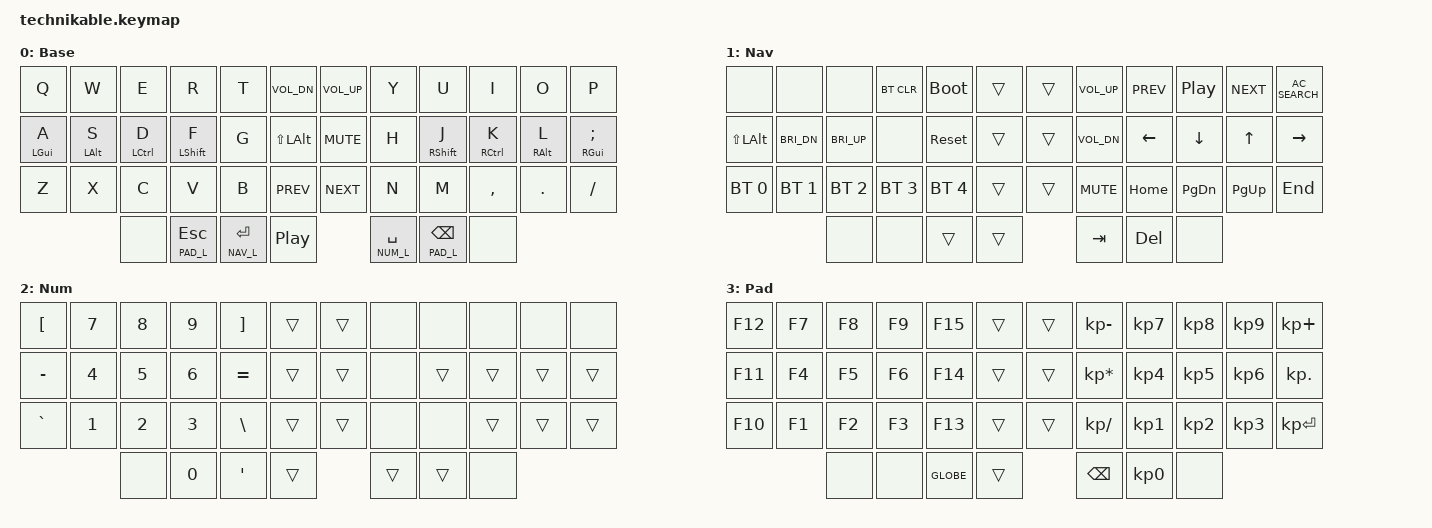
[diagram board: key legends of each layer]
/*
 * Copyright (c) 2022 Pete Johanson
 *
 * SPDX-License-Identifier: MIT
 */

#include <behaviors.dtsi>
#include <dt-bindings/zmk/keys.h>
#include <dt-bindings/zmk/bt.h>
#include <dt-bindings/zmk/outputs.h>

#define BAS_L 0
#define NAV_L 1
#define NUM_L 2
#define PAD_L 3

// Using layer taps on thumbs, having quick tap as well helps w/ repeating space/backspace
&lt { quick_tap_ms = <200>; };

/ {
    chosen {
        zmk,matrix_transform = &mit_transform;
    };

    behaviors {
        hm: homerow_mods {
            compatible = "zmk,behavior-hold-tap";
            #binding-cells = <2>;
            tapping_term_ms = <200>;
            flavor = "tap-preferred";
            bindings = <&kp>, <&kp>;
        };
    };

    keymap {
        compatible = "zmk,keymap";

        base_layer {
            display-name = "Base";
            bindings = <
&kp Q         &kp W         &kp E          &kp R            &kp T            &kp C_VOL_DN    &kp C_VOL_UP    &kp Y              &kp U             &kp I          &kp O         &kp P
&hm LGUI A    &hm LALT S    &hm LCTRL D    &hm LSHFT F      &kp G            &kp LS(LALT)    &kp C_MUTE      &kp H              &hm RSHFT J       &hm RCTRL K    &hm RALT L    &hm RGUI SEMI
&kp Z         &kp X         &kp C          &kp V            &kp B            &kp C_PREV      &kp C_NEXT      &kp N              &kp M             &kp COMMA      &kp DOT       &kp FSLH
                            &none          &lt PAD_L ESC    &lt NAV_L RET    &kp C_PP                        &lt NUM_L SPACE    &lt PAD_L BSPC    &none
            >;
        };

        nav_layer {
            display-name = "Nav";
            bindings = <
&none           &none           &none           &bt BT_CLR      &bootloader     &trans    &trans    &kp C_VOL_UP    &kp C_PREV    &kp C_PP     &kp C_NEXT    &kp C_AC_SEARCH
&kp LS(LALT)    &kp C_BRI_DN    &kp C_BRI_UP    &none           &sys_reset      &trans    &trans    &kp C_VOL_DN    &kp LEFT      &kp DOWN     &kp UP        &kp RIGHT
&bt BT_SEL 0    &bt BT_SEL 1    &bt BT_SEL 2    &bt BT_SEL 3    &bt BT_SEL 4    &trans    &trans    &kp C_MUTE      &kp HOME      &kp PG_DN    &kp PG_UP     &kp END
                                &none           &none           &trans          &trans              &kp TAB         &kp DEL       &none
            >;
        };

        num_layer {
            display-name = "Num";
            bindings = <
&kp LBKT     &kp N7    &kp N8    &kp N9    &kp RBKT     &trans    &trans    &none     &none     &none     &none     &none
&kp MINUS    &kp N4    &kp N5    &kp N6    &kp EQUAL    &trans    &trans    &none     &trans    &trans    &trans    &trans
&kp GRAVE    &kp N1    &kp N2    &kp N3    &kp BSLH     &trans    &trans    &none     &none     &trans    &trans    &trans
                       &none     &kp N0    &kp SQT      &trans              &trans    &trans    &none
            >;
        };

        pad_layer {
            display-name = "Pad";
            bindings = <
&kp F12    &kp F7    &kp F8    &kp F9    &kp F15      &trans    &trans    &kp KP_MINUS       &kp KP_N7    &kp KP_N8    &kp KP_N9    &kp KP_PLUS
&kp F11    &kp F4    &kp F5    &kp F6    &kp F14      &trans    &trans    &kp KP_MULTIPLY    &kp KP_N4    &kp KP_N5    &kp KP_N6    &kp KP_DOT
&kp F10    &kp F1    &kp F2    &kp F3    &kp F13      &trans    &trans    &kp KP_DIVIDE      &kp KP_N1    &kp KP_N2    &kp KP_N3    &kp KP_ENTER
                     &none     &none     &kp GLOBE    &trans              &kp BSPC           &kp KP_N0    &none
            >;
        };

    };
};
